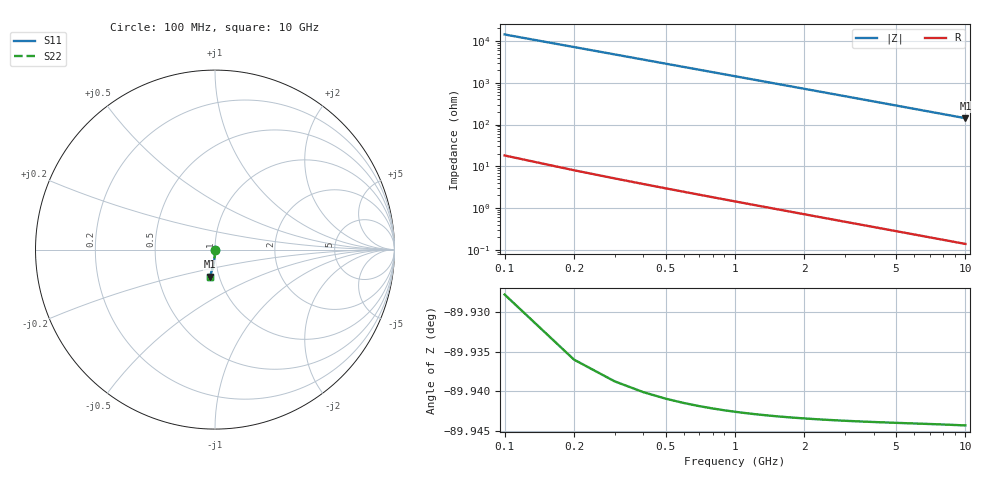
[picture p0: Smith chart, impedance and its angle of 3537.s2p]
# Hz S RI R 50.00
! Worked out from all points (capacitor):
!   100 points, 100 MHz to 10 GHz, reference 50 ohm
!   read as one part in shunt: C = 111 fF near 100 MHz
!   lowest |Z| = 142 ohm at 10 GHz (marker M1)
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1e8  4.35e-05 -0.00155  0.9999 -0.00193  0.9999 -0.00193  4.35e-05 -0.00155
2e8  3.32e-05 -0.00309  0.9999 -0.00387  0.9999 -0.00387  3.32e-05 -0.00309
3e8  1.68e-05 -0.00464  0.9999 -0.0058  0.9999 -0.0058  1.68e-05 -0.00464
4e8  -5.64e-06 -0.00618  0.9999 -0.00774  0.9999 -0.00774  -5.64e-06 -0.00618
5e8  -3.41e-05 -0.00773  0.9999 -0.00967  0.9999 -0.00967  -3.41e-05 -0.00773
6e8  -6.85e-05 -0.00927  0.9998 -0.0116  0.9998 -0.0116  -6.85e-05 -0.00927
7e8  -0.000109 -0.0108  0.9998 -0.0135  0.9998 -0.0135  -0.000109 -0.0108
8e8  -0.000155 -0.0124  0.9997 -0.0155  0.9997 -0.0155  -0.000155 -0.0124
9e8  -0.000208 -0.0139  0.9997 -0.0174  0.9997 -0.0174  -0.000208 -0.0139
1.1e9  -0.000331 -0.017  0.9996 -0.0213  0.9996 -0.0213  -0.000331 -0.017
1.4e9  -0.00056 -0.0216  0.9993 -0.0271  0.9993 -0.0271  -0.00056 -0.0216
1.8e9  -0.000951 -0.0278  0.9989 -0.0348  0.9989 -0.0348  -0.000951 -0.0278
2.1e9  -0.00131 -0.0325  0.9986 -0.0407  0.9986 -0.0407  -0.00131 -0.0325
2.5e9  -0.00187 -0.0387  0.998 -0.0484  0.998 -0.0484  -0.00187 -0.0387
2.9e9  -0.00252 -0.0449  0.9973 -0.0562  0.9973 -0.0562  -0.00252 -0.0449
3.4e9  -0.00348 -0.0526  0.9963 -0.0658  0.9963 -0.0658  -0.00348 -0.0526
4.2e9  -0.00533 -0.0649  0.9944 -0.0813  0.9944 -0.0813  -0.00533 -0.0649
5.1e9  -0.00787 -0.0787  0.9918 -0.0987  0.9918 -0.0987  -0.00787 -0.0787
5.9e9  -0.0105 -0.0909  0.9891 -0.1141  0.9891 -0.1141  -0.0105 -0.0909
6.7e9  -0.0136 -0.1031  0.986 -0.1294  0.986 -0.1294  -0.0136 -0.1031
8.4e9  -0.0213 -0.1284  0.978 -0.1616  0.978 -0.1616  -0.0213 -0.1284
1e10  -0.0301 -0.1517  0.969 -0.1913  0.969 -0.1913  -0.0301 -0.1517
